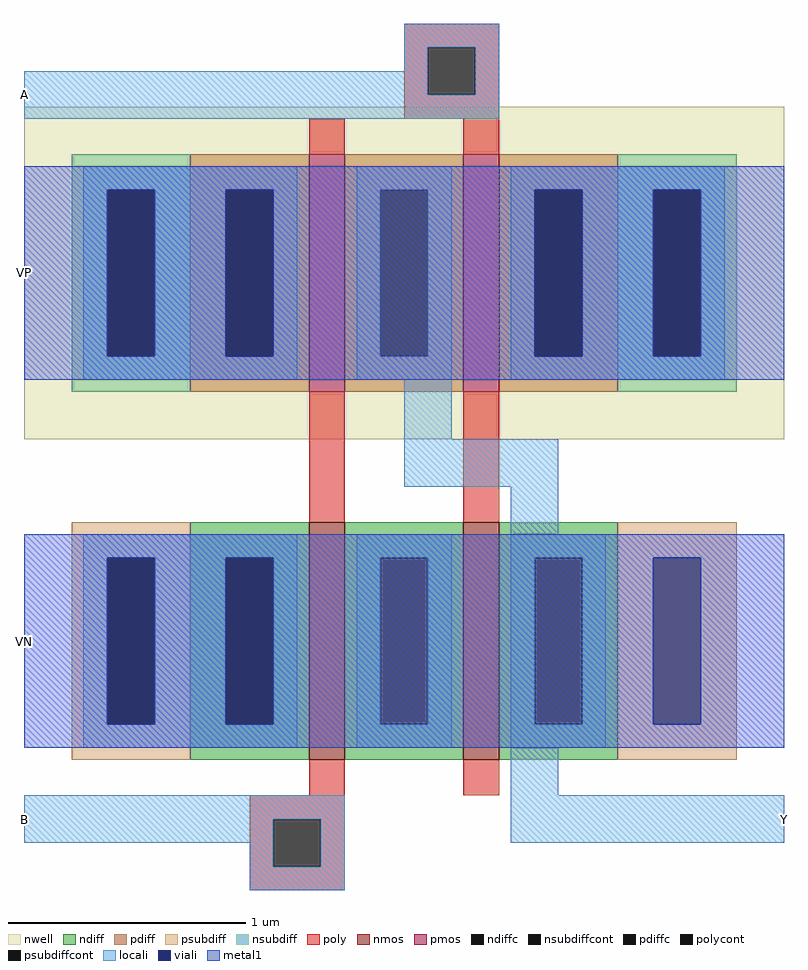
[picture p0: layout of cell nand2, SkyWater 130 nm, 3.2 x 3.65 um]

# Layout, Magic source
magic
tech sky130A
<< nwell >>
rect -120 100 200 240
<< nmos >>
rect 0 -35 15 65
rect 65 -35 80 65
<< pmos >>
rect 0 120 15 220
rect 65 120 80 220
<< ndiff >>
rect -50 50 0 65
rect -50 -20 -35 50
rect -15 -20 0 50
rect -50 -35 0 -20
rect 15 50 65 65
rect 15 -20 30 50
rect 50 -20 65 50
rect 15 -35 65 -20
rect 80 50 130 65
rect 80 -20 95 50
rect 115 -20 130 50
rect 80 -35 130 -20
<< pdiff >>
rect -50 205 0 220
rect -50 135 -35 205
rect -15 135 0 205
rect -50 120 0 135
rect 15 205 65 220
rect 15 135 30 205
rect 50 135 65 205
rect 15 120 65 135
rect 80 205 130 220
rect 80 135 95 205
rect 115 135 130 205
rect 80 120 130 135
<< ndiffc >>
rect -35 -20 -15 50
rect 30 -20 50 50
rect 95 -20 115 50
<< pdiffc >>
rect -35 135 -15 205
rect 30 135 50 205
rect 95 135 115 205
<< psubdiff >>
rect -100 50 -50 65
rect -100 -20 -85 50
rect -65 -20 -50 50
rect -100 -35 -50 -20
rect 130 -35 180 65
<< nsubdiff >>
rect -100 205 -50 220
rect -100 135 -85 205
rect -65 135 -50 205
rect -100 120 -50 135
rect 130 205 180 220
rect 130 135 145 205
rect 165 135 180 205
rect 130 120 180 135
<< psubdiffcont >>
rect -85 -20 -65 50
<< nsubdiffcont >>
rect -85 135 -65 205
rect 145 135 165 205
<< poly >>
rect 40 265 80 275
rect 40 245 50 265
rect 70 245 80 265
rect 40 235 80 245
rect 0 220 15 235
rect 65 220 80 235
rect 0 65 15 120
rect 65 65 80 120
rect 0 -50 15 -35
rect 65 -50 80 -35
rect -25 -60 15 -50
rect -25 -80 -15 -60
rect 5 -80 15 -60
rect -25 -90 15 -80
<< polycont >>
rect 50 245 70 265
rect -15 -80 5 -60
<< locali >>
rect 40 265 80 275
rect 40 255 50 265
rect -120 245 50 255
rect 70 245 80 265
rect -120 235 80 245
rect -95 205 -5 215
rect -95 135 -85 205
rect -65 135 -35 205
rect -15 135 -5 205
rect -95 125 -5 135
rect 20 205 60 215
rect 20 135 30 205
rect 50 135 60 205
rect 20 125 60 135
rect 85 205 175 215
rect 85 135 95 205
rect 115 135 145 205
rect 165 135 175 205
rect 85 125 175 135
rect 40 100 60 125
rect 40 80 105 100
rect 85 60 105 80
rect -95 50 -5 60
rect -95 -20 -85 50
rect -65 -20 -35 50
rect -15 -20 -5 50
rect -95 -30 -5 -20
rect 20 50 60 60
rect 20 -20 30 50
rect 50 -20 60 50
rect 20 -30 60 -20
rect 85 50 125 60
rect 85 -20 95 50
rect 115 -20 125 50
rect 85 -30 125 -20
rect 85 -50 105 -30
rect -120 -60 15 -50
rect -120 -70 -15 -60
rect -25 -80 -15 -70
rect 5 -80 15 -60
rect 85 -70 200 -50
rect -25 -90 15 -80
<< viali >>
rect -85 135 -65 205
rect -35 135 -15 205
rect 95 135 115 205
rect 145 135 165 205
rect -85 -20 -65 50
rect -35 -20 -15 50
rect 145 -20 165 50
<< metal1 >>
rect -120 205 200 215
rect -120 135 -85 205
rect -65 135 -35 205
rect -15 135 95 205
rect 115 135 145 205
rect 165 135 200 205
rect -120 125 200 135
rect -120 50 200 60
rect -120 -20 -85 50
rect -65 -20 -35 50
rect -15 -20 145 50
rect 165 -20 200 50
rect -120 -30 200 -20
<< labels >>
rlabel locali -120 245 -120 245 7 A
port 1 w
rlabel locali -120 -60 -120 -60 7 B
port 2 w
rlabel locali 200 -60 200 -60 3 Y
port 3 e
rlabel metal1 -120 170 -120 170 7 VP
port 4 w
rlabel metal1 -120 15 -120 15 7 VN
port 5 w
<< end >>
